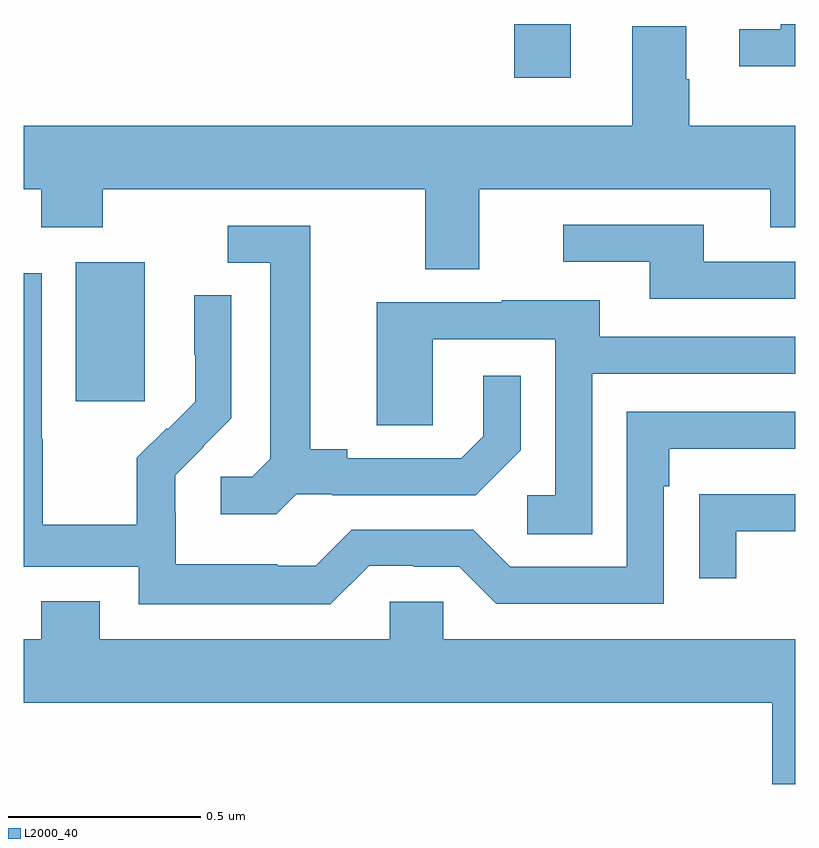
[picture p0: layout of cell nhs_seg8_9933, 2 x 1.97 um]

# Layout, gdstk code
import gdstk
lib = gdstk.Library(unit=1e-6, precision=1e-09)
def R(c, l, rs):  # rectangles x0, y0, x1, y1
    for r in rs: c.add(gdstk.rectangle(r[:2], r[2:], *l))
def P(c, l, *ps):  # polygons
    for p in ps: c.add(gdstk.Polygon(p, *l))
L2000_40 = (2000, 40)

nhs_seg8_9933 = lib.new_cell('nhs_seg8_9933')
R(nhs_seg8_9933, L2000_40, [(242.135,1143.921,242.314,1144.282), (243.272,1144.761,243.418,1144.9)])
P(nhs_seg8_9933, L2000_40, [(244,1144.9),(243.963,1144.9),(243.963,1144.887),(243.855,1144.887),(243.855,1144.79),(244,1144.79)],
  [(243.181,1144.472),(243.935,1144.472),(243.935,1144.373),(244,1144.373),(244,1144.636),(243.726,1144.636),(243.726,1144.757),(243.718,1144.757),(243.718,1144.894),(243.578,1144.894),(243.578,1144.636),(242,1144.636),(242,1144.472),(242.045,1144.472),(242.045,1144.373),(242.205,1144.373),(242.205,1144.472),(243.041,1144.472),(243.041,1144.264),(243.181,1144.264)],
  [(244,1144.284),(243.763,1144.284),(243.763,1144.38),(243.399,1144.38),(243.399,1144.284),(243.623,1144.284),(243.623,1144.188),(244,1144.188)],
  [(242.706,1143.681),(242.8,1143.681),(242.8,1143.678),(243.172,1143.678),(243.288,1143.794),(243.288,1143.988),(243.191,1143.988),(243.191,1143.831),(243.134,1143.774),(242.839,1143.774),(242.839,1143.797),(242.743,1143.797),(242.743,1144.377),(242.529,1144.377),(242.529,1144.281),(242.639,1144.281),(242.639,1143.773),(242.592,1143.726),(242.511,1143.726),(242.511,1143.629),(242.654,1143.629)],
  [(242.895,1143.495),(243.011,1143.495),(243.011,1143.492),(243.129,1143.492),(243.225,1143.396),(243.66,1143.396),(243.66,1143.701),(243.673,1143.701),(243.673,1143.798),(244,1143.798),(244,1143.894),(243.564,1143.894),(243.564,1143.492),(243.261,1143.492),(243.165,1143.588),(242.85,1143.588),(242.757,1143.495),(242.657,1143.495),(242.657,1143.499),(242.394,1143.499),(242.394,1143.633),(242.392,1143.633),(242.392,1143.73),(242.466,1143.804),(242.465,1143.805),(242.538,1143.878),(242.538,1144.196),(242.442,1144.196),(242.442,1144.042),(242.444,1144.042),(242.444,1143.92),(242.373,1143.849),(242.37,1143.852),(242.293,1143.775),(242.293,1143.601),(242.049,1143.601),(242.049,1143.824),(242.046,1143.824),(242.046,1144.254),(242,1144.254),(242,1143.492),(242.298,1143.492),(242.298,1143.395),(242.795,1143.395)],
  [(243.474,1143.993),(244,1143.993),(244,1144.089),(243.493,1144.089),(243.493,1144.183),(243.239,1144.183),(243.239,1144.179),(242.915,1144.179),(242.915,1143.859),(243.06,1143.859),(243.06,1144.083),(243.378,1144.083),(243.378,1143.678),(243.306,1143.678),(243.306,1143.577),(243.474,1143.577)],
  [(243.847,1143.585),(244,1143.585),(244,1143.681),(243.853,1143.681),(243.853,1143.68),(243.751,1143.68),(243.751,1143.462),(243.847,1143.462)],
  [(244,1143.304),(243.087,1143.304),(243.087,1143.402),(242.949,1143.402),(242.949,1143.304),(242.197,1143.304),(242.197,1143.403),(242.045,1143.403),(242.045,1143.304),(242,1143.304),(242,1143.14),(243.941,1143.14),(243.941,1142.929),(244,1142.929)])

lib.write_gds('nhs_seg8_9933.gds')
